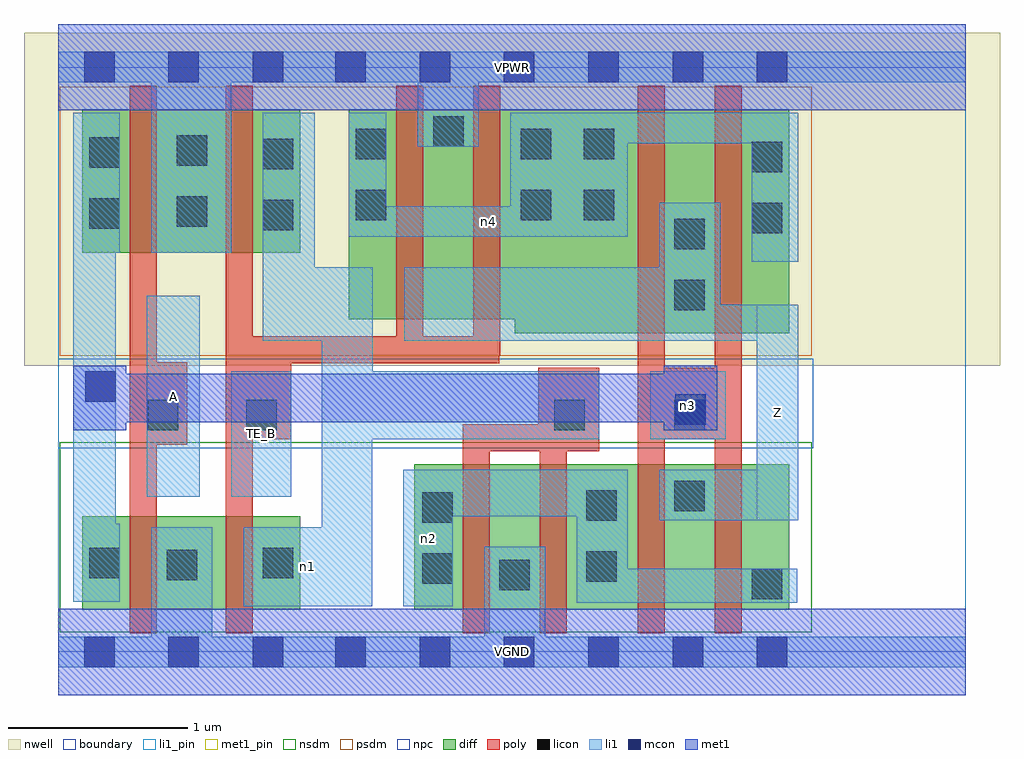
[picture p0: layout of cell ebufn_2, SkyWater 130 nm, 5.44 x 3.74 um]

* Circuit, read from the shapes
.subckt ebufn_2 A TE_B VGND VPWR Z n1 n2 n3 n4
XM1 VGND A n3 VSUBS sky130_fd_pr__nfet_01v8 w=0.52 l=0.15
XM2 n1 TE_B VGND VSUBS sky130_fd_pr__nfet_01v8 w=0.52 l=0.15
XM3 VGND n1 n2 VSUBS sky130_fd_pr__nfet_01v8 w=0.81 l=0.15 m=2
XM4 Z n3 n2 VSUBS sky130_fd_pr__nfet_01v8 w=0.81 l=0.15 m=2
XM5 VPWR A n3 n5 sky130_fd_pr__pfet_01v8 w=0.8 l=0.15
XM6 n1 TE_B VPWR n5 sky130_fd_pr__pfet_01v8 w=0.8 l=0.15
XM7 VPWR TE_B n4 n5 sky130_fd_pr__pfet_01v8 w=1.17 l=0.15 m=2
XM8 Z n3 n4 n5 sky130_fd_pr__pfet_01v8 w=1.25 l=0.15 m=2
.ends

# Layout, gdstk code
import gdstk
lib = gdstk.Library(unit=1e-6, precision=1e-09)
def R(c, l, rs):  # rectangles x0, y0, x1, y1
    for r in rs: c.add(gdstk.rectangle(r[:2], r[2:], *l))
def A(c, l, x, y, w, h, nx, ny, dx, dy):  # array of equal rectangles
    R(c, l, [(x+i*dx, y+j*dy, x+i*dx+w, y+j*dy+h) for i in range(nx) for j in range(ny)])
nwell = (64, 20)
diff = (65, 20)
poly = (66, 20)
licon = (66, 44)
li1_pin = (67, 16)
li1 = (67, 20)
mcon = (67, 44)
met1_pin = (68, 16)
met1 = (68, 20)
nsdm = (93, 44)
psdm = (94, 20)
npc = (95, 20)
boundary = (235, 4)

ebufn_2 = lib.new_cell('ebufn_2')
R(ebufn_2, nwell, [(-0.19,1.595,5.25,3.45), (0,1.595,5.06,3.45)])
R(ebufn_2, diff, [(0.135,0.235,1.35,0.755), (1.985,0.235,4.075,1.045), (2.545,1.775,4.075,3.025), (1.62,1.855,4.075,3.025), (0.135,2.225,1.35,3.025)])
R(ebufn_2, poly, [(0.4,0.105,0.55,3.155), (0.935,0.105,1.085,3.155), (2.255,0.105,2.405,1.27), (2.685,0.105,2.835,1.585), (3.23,0.105,3.38,3.155), (3.66,0.105,3.81,3.155), (2.255,1.12,3.015,1.27), (2.675,1.12,3.015,1.585), (0.4,1.155,0.72,1.615), (0.935,1.185,1.3,1.76), (3.23,1.185,3.81,1.585), (0.935,1.61,2.46,1.76), (1.885,1.61,2.035,3.155), (2.315,1.65,2.465,3.155)])
R(ebufn_2, licon, [(3.865,0.295,4.035,0.465), (2.46,0.345,2.63,0.515), (2.03,0.38,2.2,0.55), (2.945,0.39,3.115,0.56), (0.605,0.4,0.775,0.57), (0.175,0.41,0.345,0.58), (1.14,0.41,1.31,0.58), (2.03,0.72,2.2,0.89), (2.945,0.73,3.115,0.9), (3.435,0.785,3.605,0.955), (0.5,1.235,0.67,1.405), (1.05,1.235,1.22,1.405), (2.765,1.235,2.935,1.405), (3.435,1.235,3.605,1.405), (3.435,1.905,3.605,2.075), (3.435,2.245,3.605,2.415), (3.865,2.335,4.035,2.505), (1.14,2.35,1.31,2.52), (0.175,2.36,0.345,2.53), (0.66,2.37,0.83,2.54), (1.66,2.405,1.83,2.575), (2.58,2.405,2.75,2.575), (2.93,2.405,3.1,2.575), (3.865,2.675,4.035,2.845), (1.14,2.69,1.31,2.86), (0.175,2.7,0.345,2.87), (0.66,2.71,0.83,2.88), (1.66,2.745,1.83,2.915), (2.58,2.745,2.75,2.915), (2.93,2.745,3.1,2.915), (2.09,2.815,2.26,2.985)])
R(ebufn_2, li1_pin, [(3.895,0.735,4.125,1.935), (0.495,0.865,0.79,1.985), (0.965,0.865,1.3,1.565)])
R(ebufn_2, li1, [(0,-0.085,5.06,0.085), (0.52,-0.085,0.86,0.695), (2.375,-0.085,2.715,0.585), (1.035,0.255,1.75,0.695), (1.47,0.255,1.75,2.145), (1.925,0.255,2.2,1.015), (2.89,0.275,4.12,0.465), (2.89,0.275,3.175,1.015), (0.085,0.28,0.32,3.005), (0.085,0.28,0.345,0.715), (3.35,0.735,4.125,1.015), (3.895,0.735,4.125,1.935), (1.925,0.755,3.175,1.015), (0.495,0.865,0.79,1.985), (0.965,0.865,1.3,1.565), (1.47,1.185,3.015,1.565), (1.47,1.185,1.755,2.145), (3.3,1.185,3.72,1.565), (1.14,1.735,1.43,3.005), (1.14,1.735,1.755,2.145), (1.93,1.735,3.69,2.145), (1.93,1.735,4.125,1.935), (3.35,1.735,3.69,2.505), (3.865,2.175,4.125,3.005), (0.085,2.225,0.345,3.005), (0.52,2.225,0.965,3.345), (1.62,2.315,3.175,2.485), (1.62,2.315,1.83,3.005), (2.52,2.315,3.175,3.005), (2.005,2.815,2.345,3.345), (2.52,2.835,4.125,3.005), (0,3.175,5.06,3.345)])
A(ebufn_2, mcon, 0.145, -0.085, 0.17, 0.17, 3, 2, 0.47, 3.26)
A(ebufn_2, mcon, 1.545, -0.085, 0.17, 0.17, 6, 2, 0.47, 3.26)
R(ebufn_2, mcon, [(3.44,1.265,3.61,1.435), (0.15,1.395,0.32,1.565)])
R(ebufn_2, met1_pin, [(0,-0.24,5.06,0.24), (0,3.02,5.06,3.5)])
R(ebufn_2, met1, [(0,-0.24,5.06,0.24), (0.085,1.235,0.38,1.595), (3.375,1.235,3.675,1.595), (0.085,1.28,3.675,1.55), (0,3.02,5.06,3.5)])
R(ebufn_2, nsdm, [(0.01,0.11,4.2,1.17)])
R(ebufn_2, psdm, [(0.01,1.65,4.2,3.15)])
R(ebufn_2, npc, [(0,1.135,4.21,1.635)])
R(ebufn_2, boundary, [(0,0,5.06,3.26)])
ebufn_2.add(gdstk.Label('A', (0.642,1.425), layer=67, texttype=5))
ebufn_2.add(gdstk.Label('TE_B', (1.132,1.215), layer=67, texttype=5))
ebufn_2.add(gdstk.Label('Z', (4.01,1.335), layer=67, texttype=5))
ebufn_2.add(gdstk.Label('n2', (2.062,0.635), layer=67, texttype=5))
ebufn_2.add(gdstk.Label('n3', (3.51,1.375), layer=67, texttype=5))
ebufn_2.add(gdstk.Label('n1', (1.392,0.475), layer=67, texttype=5))
ebufn_2.add(gdstk.Label('n4', (2.397,2.4), layer=67, texttype=5))
ebufn_2.add(gdstk.Label('VPWR', (2.53,3.26), layer=68, texttype=5))
ebufn_2.add(gdstk.Label('VGND', (2.53,0), layer=68, texttype=5))
ebufn_2.add(gdstk.Label('A', (0.642,1.425), layer=67, texttype=16))
ebufn_2.add(gdstk.Label('TE_B', (1.132,1.215), layer=67, texttype=16))
ebufn_2.add(gdstk.Label('Z', (4.01,1.335), layer=67, texttype=16))
ebufn_2.add(gdstk.Label('VPWR', (2.53,3.26), layer=68, texttype=16))
ebufn_2.add(gdstk.Label('VGND', (2.53,0), layer=68, texttype=16))

lib.write_gds('ebufn_2.gds')
